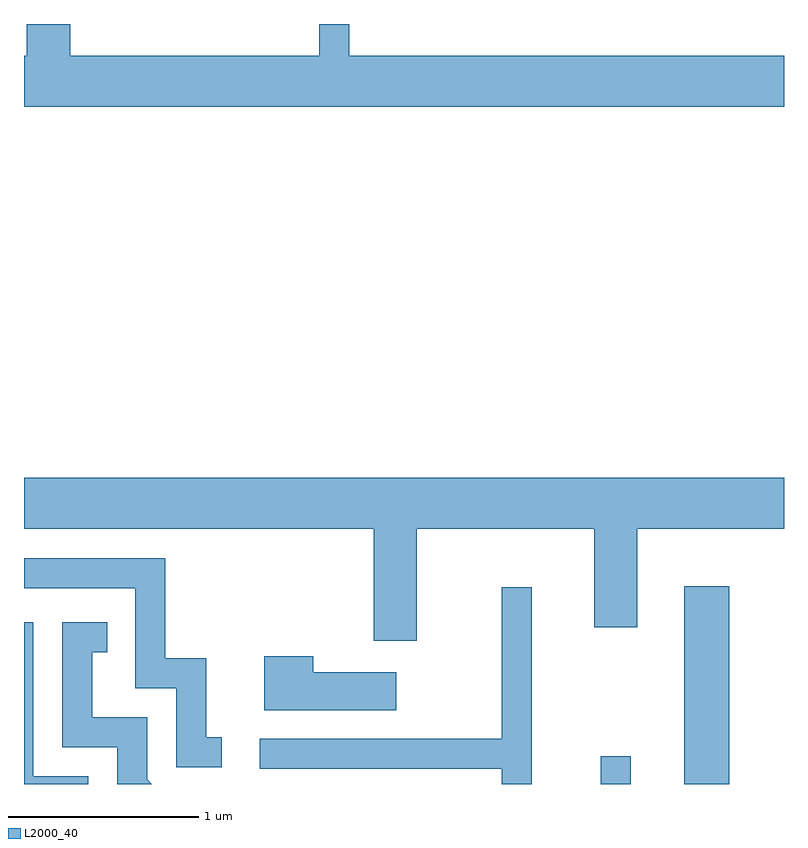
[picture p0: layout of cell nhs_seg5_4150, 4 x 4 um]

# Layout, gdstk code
import gdstk
lib = gdstk.Library(unit=1e-6, precision=1e-09)
def R(c, l, rs):  # rectangles x0, y0, x1, y1
    for r in rs: c.add(gdstk.rectangle(r[:2], r[2:], *l))
def P(c, l, *ps):  # polygons
    for p in ps: c.add(gdstk.Polygon(p, *l))
L2000_40 = (2000, 40)

nhs_seg5_4150 = lib.new_cell('nhs_seg5_4150')
R(nhs_seg5_4150, L2000_40, [(310.646,1502.072,310.804,1502.218), (311.086,1502.072,311.324,1503.114)])
P(nhs_seg5_4150, L2000_40, [(311.611,1505.904),(309.324,1505.904),(309.324,1506.072),(309.166,1506.072),(309.166,1505.904),(307.854,1505.904),(307.854,1506.072),(307.626,1506.072),(307.626,1505.904),(307.611,1505.904),(307.611,1505.636),(311.611,1505.636)],
  [(309.679,1503.416),(310.611,1503.416),(310.611,1502.896),(310.839,1502.896),(310.839,1503.416),(311.611,1503.416),(311.611,1503.684),(307.611,1503.684),(307.611,1503.416),(309.451,1503.416),(309.451,1502.826),(309.679,1502.826)],
  [(308.653,1502.319),(308.569,1502.319),(308.569,1502.734),(308.354,1502.734),(308.354,1503.259),(307.611,1503.259),(307.611,1503.101),(308.196,1503.101),(308.196,1502.576),(308.411,1502.576),(308.411,1502.161),(308.653,1502.161)],
  [(310.284,1503.108),(310.126,1503.108),(310.126,1502.309),(308.853,1502.309),(308.853,1502.151),(310.126,1502.151),(310.126,1502.072),(310.284,1502.072)],
  [(307.949,1502.114),(307.659,1502.114),(307.659,1502.924),(307.611,1502.924),(307.611,1502.072),(307.949,1502.072)],
  [(308.259,1502.097),(308.259,1502.424),(307.969,1502.424),(307.969,1502.766),(308.048,1502.766),(308.048,1502.924),(307.811,1502.924),(307.811,1502.266),(308.101,1502.266),(308.101,1502.072),(308.284,1502.072)],
  [(309.569,1502.659),(309.134,1502.659),(309.134,1502.744),(308.876,1502.744),(308.876,1502.461),(309.569,1502.461)])

lib.write_gds('nhs_seg5_4150.gds')
